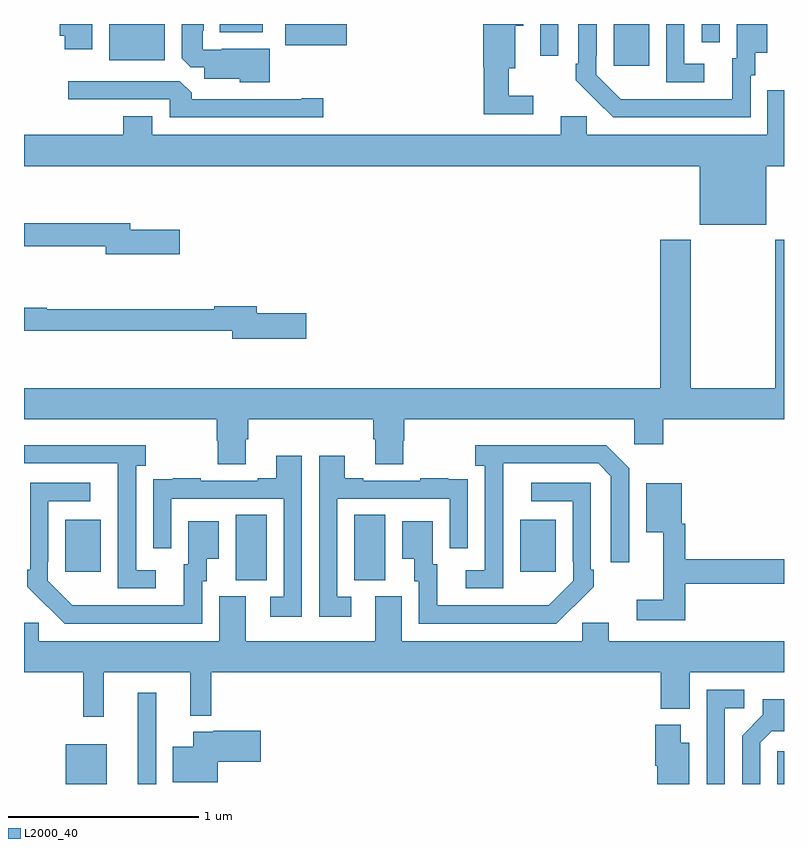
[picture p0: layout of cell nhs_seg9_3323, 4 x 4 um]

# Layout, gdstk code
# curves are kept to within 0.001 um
import gdstk
lib = gdstk.Library(unit=1e-6, precision=1e-09)
def R(c, l, rs):  # rectangles x0, y0, x1, y1
    for r in rs: c.add(gdstk.rectangle(r[:2], r[2:], *l))
def P(c, l, *ps):  # polygons
    for p in ps: c.add(gdstk.Polygon(p, *l))
L2000_40 = (2000, 40)

nhs_seg9_3323 = lib.new_cell('nhs_seg9_3323')
R(nhs_seg9_3323, L2000_40, [(301.22,1194.5,301.435,1194.709), (301.598,1194.5,301.695,1194.979), (304.965,1194.5,305,1194.673), (302.114,1195.573,302.278,1195.916), (302.738,1195.573,302.902,1195.916), (301.217,1195.617,301.405,1195.891), (303.611,1195.617,303.799,1195.891), (304.103,1198.281,304.291,1198.5), (301.448,1198.31,301.741,1198.5), (303.717,1198.332,303.813,1198.5), (302.376,1198.388,302.698,1198.5), (304.566,1198.404,304.662,1198.5), (302.03,1198.457,302.257,1198.5)])
P(nhs_seg9_3323, L2000_40, [(303.679,1198.123),(303.55,1198.123),(303.55,1198.268),(303.586,1198.268),(303.586,1198.49),(303.628,1198.49),(303.628,1198.5),(303.416,1198.5),(303.416,1198.272),(303.421,1198.272),(303.421,1198.026),(303.679,1198.026)],
  [(304.579,1198.29),(304.476,1198.29),(304.476,1198.5),(304.38,1198.5),(304.38,1198.194),(304.579,1198.194)],
  [(304.824,1198.23),(304.849,1198.23),(304.849,1198.349),(304.912,1198.349),(304.912,1198.5),(304.751,1198.5),(304.751,1198.32),(304.727,1198.32),(304.727,1198.104),(304.14,1198.105),(304.011,1198.233),(304.011,1198.333),(304.014,1198.333),(304.014,1198.5),(303.918,1198.5),(303.918,1198.291),(303.903,1198.291),(303.903,1198.203),(304.1,1198.008),(304.824,1198.008)],
  [(301.36,1198.5),(301.187,1198.5),(301.187,1198.439),(301.214,1198.439),(301.214,1198.368),(301.36,1198.368)],
  [(302.293,1198.369),(302.041,1198.369),(302.041,1198.365),(301.941,1198.365),(301.941,1198.465),(301.945,1198.465),(301.945,1198.5),(301.829,1198.5),(301.829,1198.321),(301.878,1198.272),(301.949,1198.272),(301.949,1198.211),(302.136,1198.211),(302.136,1198.193),(302.293,1198.193)],
  [(302.575,1198.109),(302.462,1198.109),(302.462,1198.104),(301.883,1198.104),(301.883,1198.138),(301.821,1198.2),(301.233,1198.2),(301.233,1198.104),(301.767,1198.104),(301.767,1198.008),(302.575,1198.008)],
  [(301.523,1198.015),(301.523,1197.916),(301,1197.916),(301,1197.752),(304.556,1197.752),(304.556,1197.443),(304.906,1197.443),(304.906,1197.752),(305,1197.752),(305,1198.152),(304.913,1198.152),(304.913,1197.916),(303.963,1197.916),(303.963,1198.014),(303.824,1198.014),(303.824,1197.916),(301.675,1197.916),(301.675,1198.015)],
  [(301.819,1197.417),(301.558,1197.417),(301.558,1197.451),(301,1197.451),(301,1197.33),(301.43,1197.33),(301.43,1197.287),(301.819,1197.287)],
  [(302.167,1196.314),(302.18,1196.314),(302.18,1196.42),(302.837,1196.42),(302.837,1196.314),(302.849,1196.314),(302.849,1196.182),(302.997,1196.182),(302.997,1196.307),(303.002,1196.307),(303.002,1196.42),(304.212,1196.42),(304.212,1196.289),(304.364,1196.289),(304.364,1196.42),(305,1196.42),(305,1197.364),(304.954,1197.364),(304.954,1196.584),(304.509,1196.584),(304.509,1197.364),(304.349,1197.364),(304.349,1196.584),(301,1196.584),(301,1196.42),(302.015,1196.42),(302.015,1196.307),(302.02,1196.307),(302.02,1196.182),(302.167,1196.182)],
  [(302.485,1196.978),(302.224,1196.978),(302.224,1197.014),(302,1197.014),(302,1196.999),(301.12,1196.999),(301.12,1197.007),(301,1197.007),(301,1196.886),(302.096,1196.886),(302.096,1196.843),(302.485,1196.843)],
  [(303.522,1195.987),(303.523,1196.187),(304.023,1196.187),(304.089,1196.121),(304.089,1195.668),(304.185,1195.668),(304.185,1196.163),(304.064,1196.284),(303.375,1196.284),(303.375,1196.174),(303.426,1196.174),(303.426,1195.626),(303.324,1195.626),(303.324,1195.53),(303.522,1195.53)],
  [(301.693,1195.626),(301.59,1195.626),(301.59,1196.174),(301.642,1196.174),(301.642,1196.284),(301,1196.284),(301,1196.187),(301.493,1196.187),(301.493,1195.987),(301.494,1195.987),(301.494,1195.53),(301.693,1195.53)],
  [(302.722,1195.485),(302.649,1195.485),(302.649,1196.001),(303.24,1196.001),(303.24,1195.74),(303.336,1195.74),(303.336,1195.994),(303.335,1195.994),(303.335,1196.103),(303.233,1196.103),(303.233,1196.11),(303.085,1196.11),(303.085,1196.097),(302.785,1196.097),(302.785,1196.11),(302.689,1196.11),(302.689,1196.227),(302.553,1196.227),(302.553,1195.38),(302.722,1195.38)],
  [(302.463,1196.227),(302.327,1196.227),(302.327,1196.11),(302.231,1196.11),(302.231,1196.097),(301.931,1196.097),(301.931,1196.11),(301.783,1196.11),(301.783,1196.103),(301.681,1196.103),(301.681,1195.994),(301.68,1195.994),(301.68,1195.74),(301.776,1195.74),(301.776,1196.001),(302.367,1196.001),(302.367,1195.485),(302.295,1195.485),(302.295,1195.38),(302.463,1195.38)],
  [(303.893,1195.435),(303.894,1195.434),(303.999,1195.539),(303.999,1195.627),(303.984,1195.627),(303.984,1196.085),(303.669,1196.085),(303.669,1195.989),(303.888,1195.989),(303.888,1195.669),(303.891,1195.669),(303.891,1195.569),(303.763,1195.441),(303.175,1195.44),(303.175,1195.656),(303.151,1195.656),(303.151,1195.882),(302.99,1195.882),(302.99,1195.685),(303.053,1195.685),(303.053,1195.566),(303.078,1195.566),(303.078,1195.344),(303.802,1195.344)],
  [(301.938,1195.566),(301.963,1195.566),(301.963,1195.685),(302.026,1195.685),(302.026,1195.882),(301.865,1195.882),(301.865,1195.656),(301.841,1195.656),(301.841,1195.44),(301.254,1195.441),(301.125,1195.569),(301.125,1195.669),(301.128,1195.669),(301.128,1195.989),(301.348,1195.989),(301.348,1196.085),(301.032,1196.085),(301.032,1195.627),(301.017,1195.627),(301.017,1195.539),(301.214,1195.344),(301.938,1195.344)],
  [(304.481,1195.554),(305,1195.554),(305,1195.682),(304.481,1195.682),(304.481,1195.869),(304.462,1195.869),(304.462,1196.083),(304.274,1196.083),(304.274,1195.826),(304.364,1195.826),(304.364,1195.471),(304.224,1195.471),(304.224,1195.362),(304.481,1195.362)],
  [(301.421,1195.088),(301.874,1195.088),(301.874,1194.86),(301.986,1194.86),(301.986,1195.088),(304.352,1195.088),(304.352,1194.896),(304.504,1194.896),(304.504,1195.088),(305,1195.088),(305,1195.252),(304.078,1195.252),(304.078,1195.35),(303.939,1195.35),(303.939,1195.252),(302.989,1195.252),(302.989,1195.488),(302.849,1195.488),(302.849,1195.252),(302.167,1195.252),(302.167,1195.488),(302.027,1195.488),(302.027,1195.252),(301.077,1195.252),(301.077,1195.35),(301,1195.35),(301,1195.088),(301.311,1195.088),(301.311,1194.855),(301.421,1194.855)],
  [(304.689,1194.9),(304.792,1194.9),(304.792,1194.996),(304.593,1194.996),(304.593,1194.5),(304.689,1194.5)],
  [(304.875,1194.717),(304.935,1194.777),(305,1194.777),(305,1194.946),(304.889,1194.946),(304.889,1194.864),(304.779,1194.754),(304.779,1194.5),(304.875,1194.5)],
  [(304.501,1194.718),(304.456,1194.718),(304.456,1194.811),(304.322,1194.811),(304.322,1194.597),(304.334,1194.597),(304.334,1194.5),(304.501,1194.5)],
  [(302.02,1194.617),(302.245,1194.617),(302.245,1194.78),(301.996,1194.78),(301.996,1194.775),(301.892,1194.775),(301.892,1194.697),(301.784,1194.697),(301.784,1194.509),(302.02,1194.509)])

lib.write_gds('nhs_seg9_3323.gds')
